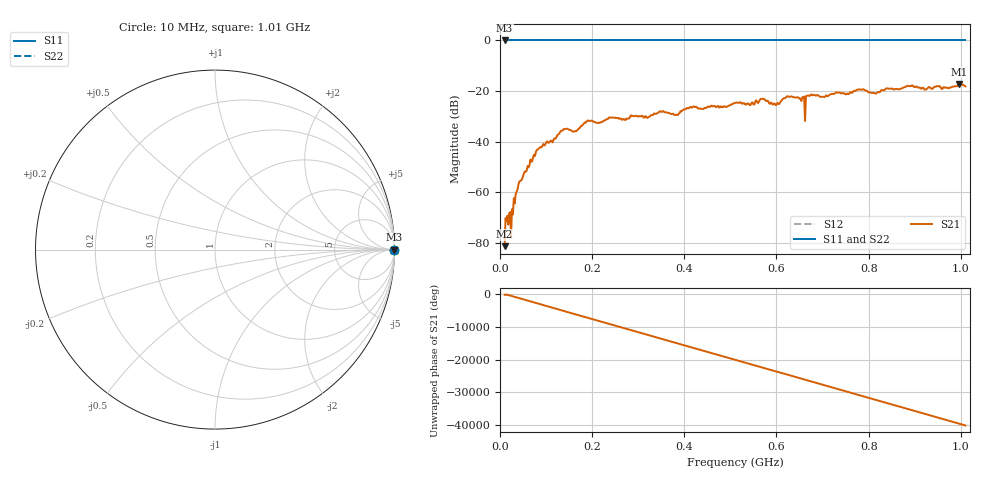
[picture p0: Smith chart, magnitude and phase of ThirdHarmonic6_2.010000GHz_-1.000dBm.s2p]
! 8/17/2025 12:08:30 AM
! C:\ANRITSUVNA\TEMP\TEMP.S2P
! CHANNEL.1
! TR.MEASUREMENT
! RAW.DATA
! RF.CORRECTION.OFF
! AVERAGING.OFF
! IF.BANDWIDTH: 5KHZ
! SWEEPTYPE:  FREQ.SWEEP(Linear)
! Reference Plane Port Info
! PORT:  PORT1  PORT2
! DISTANCE:  0  m  0  m
! TIME:  0  s  0  s
! PHASE.OFFSET:  0  deg.  0  deg.
! LOSS:  0  dB  0  dB
! REF.LOSS:  0  dB  0  dB
! REF.FREQ:  0  Hz  0  Hz
! Power Info
! POWER:  -20  dBm  -20  dBm
! EFF.POWER:  -20  dBm  -20  dBm
! SOURCE.ATTEN:  0  dB  0  dB
! TEST.ATTEN:  0  dB  0  dB
# GHZ S RI R 50.0
! FREQ.GHZ  S11RE  S11IM  S21RE  S21IM  S12RE  S12IM  S22RE  S22IM
!; PortSelection: Port_12
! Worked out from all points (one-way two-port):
!   501 points, 10 MHz to 1.01 GHz, reference 50 ohm
!   highest |S21| = -17.18 dB at 996 MHz (marker M1); lowest = -81.4 dB at 10 MHz (marker M2)
!   lowest |S11| = 0.0 dB at 10 MHz (marker M3)
!   |S11| at or under -10 dB: nowhere
!   |S22| runs from 0.0 to 0.0 dB; largest |S21 - S12| = 1.1
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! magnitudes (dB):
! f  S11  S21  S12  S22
! 10 MHz  0.0  -81.4  0.0  0.0
! 16 MHz  0.0  -69.4  0.0  0.0
! 28 MHz  0.0  -68.8  0.0  0.0
! 30 MHz  0.0  -62.5  0.0  0.0
! 40 MHz  0.0  -57.0  0.0  0.0
! 82 MHz  0.0  -43.1  0.0  0.0
! 136 MHz  0.0  -35.6  0.0  0.0
! 162 MHz  0.0  -35.9  0.0  0.0
! 178 MHz  0.0  -33.7  0.0  0.0
! 344 MHz  0.0  -28.5  0.0  0.0
! 382 MHz  0.0  -29.4  0.0  0.0
! 416 MHz  0.0  -26.6  0.0  0.0
! 510 MHz  0.0  -24.7  0.0  0.0
! 570 MHz  0.0  -23.1  0.0  0.0
! 602 MHz  0.0  -24.7  0.0  0.0
! 628 MHz  0.0  -22.4  0.0  0.0
! 656 MHz  0.0  -22.5  0.0  0.0
! 658 MHz  0.0  -22.6  0.0  0.0
! 678 MHz  0.0  -21.7  0.0  0.0
! 844 MHz  0.0  -19.1  0.0  0.0
! 996 MHz  0.0  -17.2  0.0  0.0
! 1.01 GHz  0.0  -18.2  0.0  0.0
